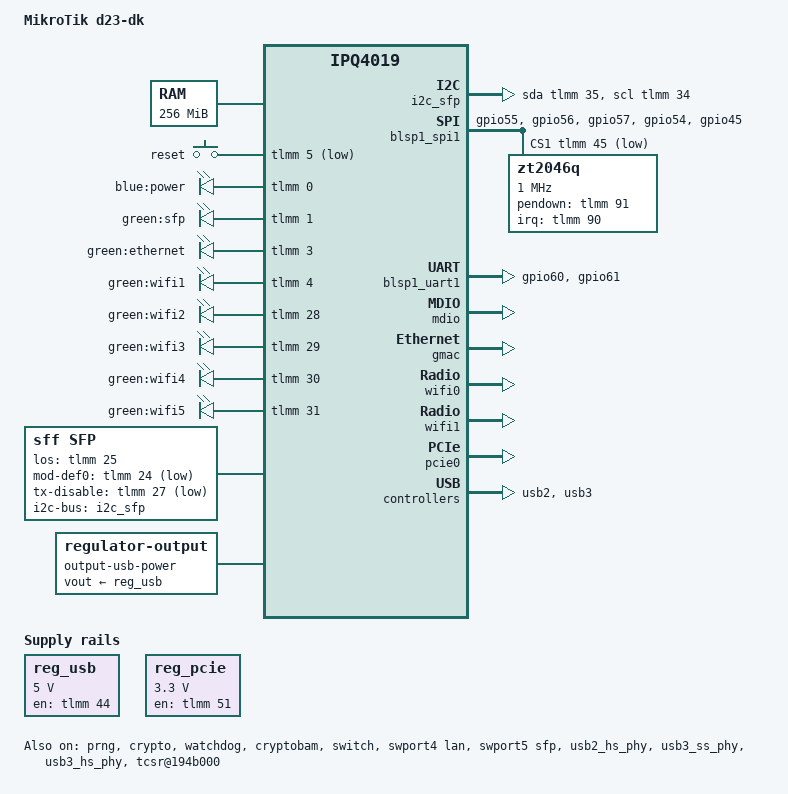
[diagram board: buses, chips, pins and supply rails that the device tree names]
// SPDX-License-Identifier: GPL-2.0-or-later OR MIT
/* Copyright (c) 2020, Robert Marko <robimarko@gmail.com> */

#include "qcom-ipq4019.dtsi"
#include "qcom-ipq4019-mikrotik_nor.dtsi"
#include <dt-bindings/gpio/gpio.h>
#include <dt-bindings/input/input.h>
#include <dt-bindings/soc/qcom,tcsr.h>

/ {
	model = "MikroTik d23-dk";
	compatible = "mikrotik,d23-dk";

	memory {
		device_type = "memory";
		reg = <0x80000000 0x10000000>;
	};

	chosen {
		stdout-path = "serial0:115200n8";
	};

	aliases {
		led-boot = &led_power;
		led-failsafe = &led_power;
		led-running = &led_power;
		led-upgrade = &led_power;
		label-mac-device = &gmac;
	};

	soc {
		tcsr@1949000 {
			compatible = "qcom,tcsr";
			reg = <0x1949000 0x100>;
			qcom,wifi_glb_cfg = <TCSR_WIFI_GLB_CFG>;
		};

		tcsr@194b000 {
			status = "okay";
			/* select hostmode */
			compatible = "qcom,tcsr";
			reg = <0x194b000 0x100>;
			qcom,usb-hsphy-mode-select = <TCSR_USB_HSPHY_HOST_MODE>;
		};

		ess_tcsr@1953000 {
			compatible = "qcom,tcsr";
			reg = <0x1953000 0x1000>;
			qcom,ess-interface-select = <TCSR_ESS_PSGMII>;
		};

		tcsr@1957000 {
			compatible = "qcom,tcsr";
			reg = <0x1957000 0x100>;
			qcom,wifi_noc_memtype_m0_m2 = <TCSR_WIFI_NOC_MEMTYPE_M0_M2>;
		};
	};

	keys {
		compatible = "gpio-keys";

		reset {
			label = "reset";
			gpios = <&tlmm 5 GPIO_ACTIVE_LOW>;
			linux,code = <KEY_RESTART>;
		};
	};

	leds {
		compatible = "gpio-leds";

		led_power: power {
			label = "blue:power";
			gpios = <&tlmm 0 GPIO_ACTIVE_HIGH>;
			default-state = "keep";
			panic-indicator;
		};

		sfp {
			label = "green:sfp";
			gpios = <&tlmm 1 GPIO_ACTIVE_HIGH>;
		};

		ethernet {
			label = "green:ethernet";
			gpios = <&tlmm 3 GPIO_ACTIVE_HIGH>;
		};

		wifi1 {
			label = "green:wifi1";
			gpios = <&tlmm 4 GPIO_ACTIVE_HIGH>;
		};

		wifi2 {
			label = "green:wifi2";
			gpios = <&tlmm 28 GPIO_ACTIVE_HIGH>;
		};

		wifi3 {
			label = "green:wifi3";
			gpios = <&tlmm 29 GPIO_ACTIVE_HIGH>;
		};

		wifi4 {
			label = "green:wifi4";
			gpios = <&tlmm 30 GPIO_ACTIVE_HIGH>;
		};

		wifi5 {
			label = "green:wifi5";
			gpios = <&tlmm 31 GPIO_ACTIVE_HIGH>;
		};
	};

	i2c_sfp: i2c-gpio {
		compatible = "i2c-gpio";
		sda-gpios = <&tlmm 35 (GPIO_ACTIVE_HIGH|GPIO_OPEN_DRAIN)>;
		scl-gpios = <&tlmm 34 (GPIO_ACTIVE_HIGH|GPIO_OPEN_DRAIN)>;
	};

	sfp: sfp {
		compatible = "sff,sfp";
		i2c-bus = <&i2c_sfp>;
		los-gpios = <&tlmm 25 GPIO_ACTIVE_HIGH>;
		mod-def0-gpios = <&tlmm 24 GPIO_ACTIVE_LOW>;
		tx-disable-gpios = <&tlmm 27 GPIO_ACTIVE_LOW>;
		maximum-power-milliwatt = <1000>;
	};

	reg_usb: regulator-usb-supply {
		compatible = "regulator-fixed";
		regulator-name = "usb-supply";
		regulator-min-microvolt = <5000000>;
		regulator-max-microvolt = <5000000>;
		enable-active-high;
		regulator-boot-on;
		gpio = <&tlmm 44 GPIO_ACTIVE_HIGH>;
	};

	reg_pcie: regulator-pcie-supply {
		compatible = "regulator-fixed";
		regulator-name = "pcie-supply";
		regulator-min-microvolt = <3300000>;
		regulator-max-microvolt = <3300000>;
		enable-active-high;
		gpio = <&tlmm 51 GPIO_ACTIVE_HIGH>;
	};

	output-usb-power {
		compatible = "regulator-output";
		vout-supply = <&reg_usb>;
	};
};

&prng {
	status = "okay";
};

&crypto {
	status = "okay";
};

&watchdog {
	status = "okay";
};

&tlmm {
	gpio-line-names = "led-power", "", "led-sfp", "led-ethernet", "led-wifi1", "reset", "", "",
		"", "", "", "", "spi-cs0", "", "", "",
		"", "", "", "", "", "", "", "",
		"sfp-present", "sfp-los", "", "sfp-tx-disable", "led-wifi2", "led-wifi3", "led-wifi4", "led-wifi5",
		"", "", "sfp-i2c-scl", "sfp-i2c-sda", "", "", "", "",
		"", "", "", "", "switch-usb-power", "spi-cs1-ts", "", "",
		"", "", "", "switch-pcie-power";

	serial_pins: serial_pinmux {
		mux {
			pins = "gpio60", "gpio61";
			function = "blsp_uart0";
			bias-disable;
		};
	};

	spi_0_pins: spi_0_pinmux {
		pin {
			function = "blsp_spi0";
			pins = "gpio55", "gpio56", "gpio57";
			drive-strength = <2>;
			bias-disable;
		};
		pin_cs {
			function = "gpio";
			pins = "gpio54";
			drive-strength = <2>;
			bias-disable;
			output-high;
		};

		pin_cs1 {
			function = "gpio";
			pins = "gpio45";
			bias-disable;
			output-high;
		};
	};
};

&blsp_dma {
	status = "okay";
};

&blsp1_spi1 {
	status = "okay";
	pinctrl-0 = <&spi_0_pins>;
	pinctrl-names = "default";
	cs-gpios = <0>, <&tlmm 45 GPIO_ACTIVE_LOW>;

	zt2046q@1 {
		reg = <1>;
		compatible = "zt2046q", "ti,ads7846";
		spi-max-frequency = <1000000>;
		// fake gpio for interrupt and pendown-gpio
		interrupts-extended = <&tlmm 90 IRQ_TYPE_NONE>;
		pendown-gpio = <&tlmm 91 GPIO_ACTIVE_HIGH>;
	};
};

&flash0 {
	// SPI NOR unstable faster
	spi-max-frequency = <24000000>;
};

&nor_partitions {
	partition@100000 {
		compatible = "mikrotik,minor";
		label = "firmware";
		reg = <0x100000 0xf00000>;
	};
};

&blsp1_uart1 {
	status = "okay";
	pinctrl-0 = <&serial_pins>;
	pinctrl-names = "default";
};

&cryptobam {
	status = "okay";
};

&mdio {
	status = "okay";
};

&ethphy3 {
	qcom,single-led-1000;
	qcom,single-led-100;
	qcom,single-led-10;
};

&ethphy4 {
	qcom,single-led-1000;
	qcom,single-led-100;
	qcom,single-led-10;
	sfp = <&sfp>;
};

&gmac {
	status = "okay";
	nvmem-cells = <&macaddr_base 0>;
	nvmem-cell-names = "mac-address";
};

&switch {
	status = "okay";
};

&swport4 {
	status = "okay";
	label = "lan";
	nvmem-cells = <&macaddr_base 0>;
	nvmem-cell-names = "mac-address";
};

&swport5 {
	status = "okay";
	label = "sfp";
	nvmem-cells = <&macaddr_base 1>;
	nvmem-cell-names = "mac-address";
};

&wifi0 {
	status = "okay";
	qcom,ath10k-calibration-variant = "MikroTik-d23-dk";
};

&wifi1 {
	status = "okay";
	qcom,ath10k-calibration-variant = "MikroTik-d23-dk";
};

&pcie0 {
	status = "okay";
	persts-gpio = <&tlmm 49 GPIO_ACTIVE_HIGH>;
	vdppe-3v3-supply = <&reg_pcie>;
};

&usb2 {
	status = "okay";
};

&usb2_hs_phy {
	status = "okay";
};

&usb3 {
	status = "okay";
};

&usb3_ss_phy {
	status = "okay";
};

&usb3_hs_phy {
	status = "okay";
};
